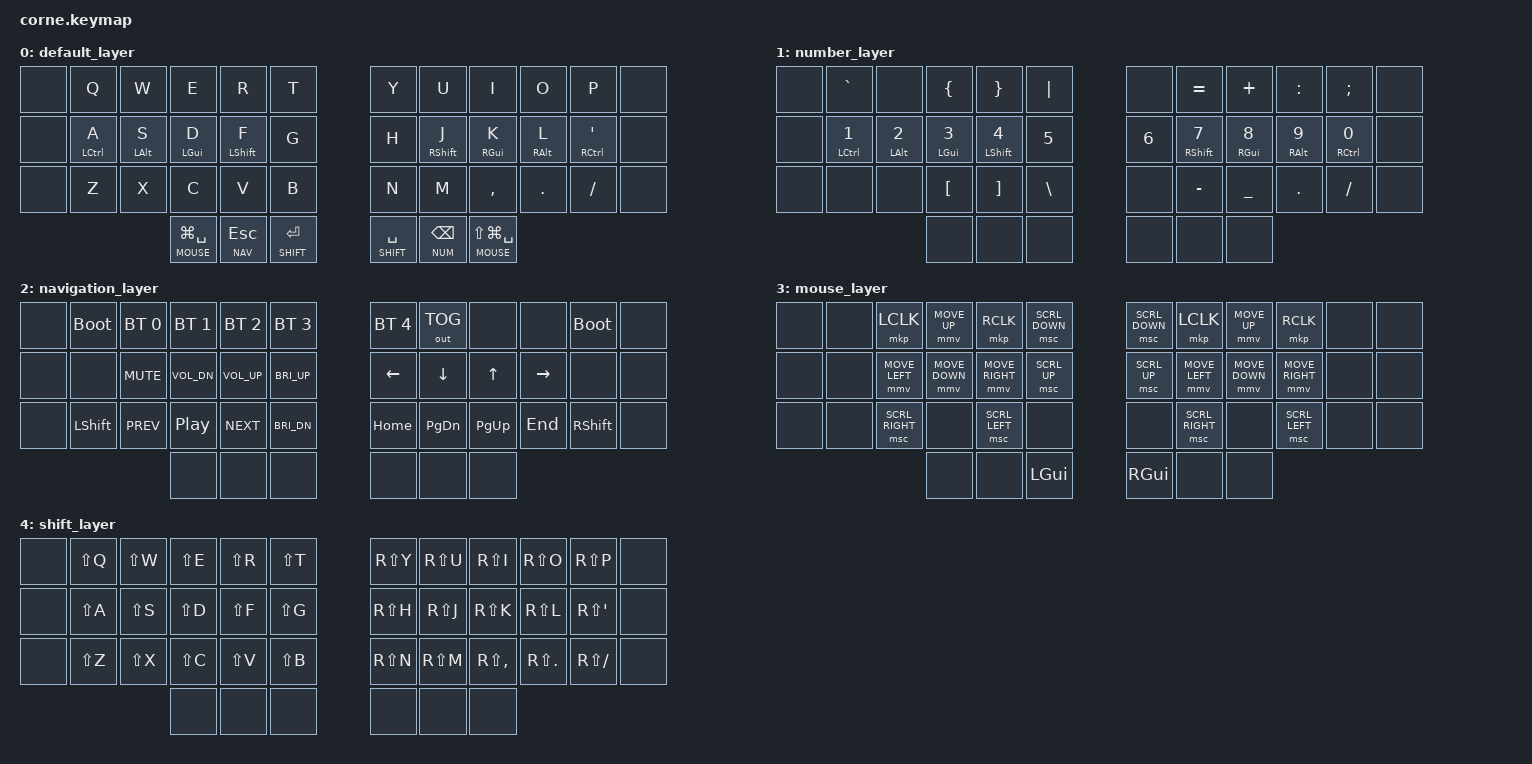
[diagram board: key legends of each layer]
/*
 * Copyright (c) 2020 The ZMK Contributors
 *
 * SPDX-License-Identifier: MIT
 */

#include <behaviors.dtsi>
#include <dt-bindings/zmk/keys.h>
#include <dt-bindings/zmk/bt.h>
#include <dt-bindings/zmk/outputs.h>

/* Mouse move MAX speed (가속 곡선의 끝점). ZMK default 600 → 6배. 곡선은 아래 &mmv. */
#define ZMK_POINTING_DEFAULT_MOVE_VAL 3600
/* Mouse scroll speed. ZMK default 10. &msc 는 기본 acceleration-exponent=0 라
   가속 없이 누르는 동안 '일정 속도' 스크롤. 20 → 16 (0.8배). */
#define ZMK_POINTING_DEFAULT_SCRL_VAL 16
#include <dt-bindings/zmk/pointing.h>

#define BASE  0
#define NUM   1
#define NAV   2
#define MOUSE 3
#define SHIFT 4

/ {
    combos {
        compatible = "zmk,combos";

        /* 둘 다 BASE 전용이다. layers 를 안 걸면 콤보는 모든 레이어에서 살아 있어서,
           예컨대 NAV 의 Y(=BT_SEL 4) 와 H 를 같이 누르면 프로파일 전환 대신 한영전환이
           나간다. 원래 vil 용 콤보라 BASE 밖에서 쓸 일이 없다. */

        // vil: T + G -> Tab
        combo_tab {
            bindings = <&kp TAB>;
            key-positions = <5 17>;
            layers = <BASE>;
            timeout-ms = <50>;
        };

        // vil: Y + H -> Ctrl+Space (한영전환, vil은 우측 Ctrl)
        combo_lang {
            bindings = <&kp RC(SPACE)>;
            key-positions = <6 18>;
            layers = <BASE>;
            timeout-ms = <50>;
        };

        /* 파괴적인 BT 초기화는 NAV 레이어 전용 콤보로만 발동한다.
           예전엔 NAV 윗줄 Y 한 방이 BT_CLR 이었다. OUT_TOG(U) 바로 옆이라 한 칸만
           밀리면 현재 프로파일 bond 가 확인 없이 날아갔고, 실제로 그렇게 페어링이
           깨졌다. 게다가 ble.c 의 auth_pairing_complete() 는 SMP 가 끝나는 순간
           상대 주소를 프로파일에 써버리므로, 한 번 어긋난 슬롯은 호스트 쪽에 아무
           기록이 안 남아도 계속 "taken" 으로 남아 이후 페어링을 전부 거절한다.
           그래서 이제 세 조건이 모두 맞아야 발동한다:
             (1) NAV 레이어일 것  (2) 두 키 동시타  (3) 직전 250ms 간 타이핑 없음
           축은 I(8) 로 공통이되 {8,9} 와 {8,22} 는 서로 부분집합이 아니라서
           combo.c 의 filter_candidates() 판정이 모호해지지 않는다.
           8=I, 9=O, 22=; — 셋 다 NAV 에서는 &none 이라 오발이 나도 무해하다. */

        // NAV + I & O -> 현재 프로파일 bond 만 삭제
        combo_bt_clr {
            bindings = <&bt BT_CLR>;
            key-positions = <8 9>;
            layers = <NAV>;
            timeout-ms = <60>;
            require-prior-idle-ms = <250>;
        };

        // NAV + I & ; -> 5개 프로파일 bond 전부 삭제
        combo_bt_clr_all {
            bindings = <&bt BT_CLR_ALL>;
            key-positions = <8 22>;
            layers = <NAV>;
            timeout-ms = <60>;
            require-prior-idle-ms = <250>;
        };
    };

    behaviors {
        /* Positional home-row mods: mod(hold)는 "반대손/엄지" 키가 뒤따를 때만 발동.
           같은손 연속타(roll)는 강제 tap → 오발 방지. flavor=balanced +
           hold-trigger-on-release 라 Shift+/ 같은 굴림도 hold로 잡혀 ?가 제대로 찍힘.
           (tap-preferred는 200ms 꾹 눌러야만 hold라서 굴리면 tap=ㄹ 으로 떨어졌음)
           positions: 윗줄 좌1-5/우6-10, 홈row 좌13-17/우18-22, 아랫줄 좌25-29/우30-34, 엄지36-41 */
        ml: homerow_mods_left {
            compatible = "zmk,behavior-hold-tap";
            label = "HRM_LEFT";
            #binding-cells = <2>;
            bindings = <&kp>, <&kp>;
            flavor = "balanced";
            tapping-term-ms = <200>;
            quick-tap-ms = <200>;
            require-prior-idle-ms = <150>;
            hold-trigger-on-release;
            // 오른손 글자(6-10,18-22,30-34) + 모든 엄지(36-41)
            hold-trigger-key-positions = <6 7 8 9 10 18 19 20 21 22 30 31 32 33 34 36 37 38 39 40 41>;
        };

        mr: homerow_mods_right {
            compatible = "zmk,behavior-hold-tap";
            label = "HRM_RIGHT";
            #binding-cells = <2>;
            bindings = <&kp>, <&kp>;
            flavor = "balanced";
            tapping-term-ms = <200>;
            quick-tap-ms = <200>;
            require-prior-idle-ms = <150>;
            hold-trigger-on-release;
            // 왼손 글자(1-5,13-17,25-29) + 모든 엄지(36-41)
            hold-trigger-key-positions = <1 2 3 4 5 13 14 15 16 17 25 26 27 28 29 36 37 38 39 40 41>;
        };
    };

    keymap {
        compatible = "zmk,keymap";

        // BASE — QWERTY + CAGS home-row mods (좌 LCTRL/LALT/LGUI/LSHFT, 우 RSHFT/RGUI/RALT/RCTRL)
        default_layer {
            bindings = <
&none  &kp Q        &kp W           &kp E       &kp R        &kp T                  &kp Y           &kp U         &kp I           &kp O        &kp P           &none
&none  &ml LCTRL A  &ml LEFT_ALT S  &ml LGUI D  &ml LSHFT F  &kp G                  &kp H           &mr RSHFT J   &mr RGUI K      &mr RALT L   &mr RCTRL APOS  &none
&none  &kp Z        &kp X           &kp C       &kp V        &kp B                  &kp N           &kp M         &kp COMMA       &kp DOT      &kp SLASH       &none
                                    &lt MOUSE LG(SPACE)  &lt NAV ESC  &lt SHIFT ENTER    &lt SHIFT SPACE  &lt NUM BSPC  &lt MOUSE LS(LG(SPACE))
            >;
        };

        // NUMBER / SYMBOL — 우 Bspc 엄지 hold
        number_layer {
            bindings = <
&none  &kp GRAVE     &none            &kp LBRC    &kp RBRC     &kp PIPE               &none           &kp EQUAL     &kp PLUS        &kp COLON    &kp SEMI        &none
&none  &ml LCTRL N1  &ml LEFT_ALT N2  &ml LGUI N3 &ml LSHFT N4 &kp N5                 &kp N6          &mr RSHFT N7  &mr RGUI N8     &mr RALT N9  &mr RCTRL N0    &none
&none  &none         &none            &kp LBKT    &kp RBKT     &kp BSLH               &none           &kp MINUS     &kp UNDER       &kp DOT      &kp SLASH       &none
                                      &none       &none        &none                  &none           &none         &none
            >;
        };

        // NAVIGATION / MEDIA — 좌 Esc 엄지 hold (볼륨조절 레이어)
        // 윗줄 = 부트로더(양쪽 상단 바깥끝/새끼 자리, NAV+해당 모서리) +
        //        블루투스: W/E/R/T/Y = BT_SEL 0~4 (화면 표시 BT 1~BT 5), 그옆
        //        OUT_TOG(USB↔BLE 토글). BT_CLR/BT_CLR_ALL 은 단타로는 못 누른다 —
        //        위 combos 블록 참고. 프로파일은 5개인데 예전 키맵은 4개만 닿아서
        //        마지막 슬롯의 낡은 bond 를 지울 방법이 아예 없었다.
        navigation_layer {
            bindings = <
&none  &bootloader   &bt BT_SEL 0  &bt BT_SEL 1  &bt BT_SEL 2  &bt BT_SEL 3    &bt BT_SEL 4  &out OUT_TOG  &none  &none  &bootloader  &none
&none  &none         &kp K_MUTE       &kp C_VOL_DN &kp C_VOL_UP &kp C_BRI_UP           &kp LEFT        &kp DOWN      &kp UP          &kp RIGHT    &none           &none
&none  &kp LSHFT     &kp C_PREV       &kp C_PP     &kp C_NEXT   &kp C_BRI_DN           &kp HOME        &kp PG_DN     &kp PG_UP       &kp END      &kp RSHFT       &none
                                      &none       &none        &none                  &none           &none         &none
            >;
        };

        // MOUSE — 양쪽 바깥 엄지 hold
        mouse_layer {
            bindings = <
&none  &none         &mkp LCLK        &mmv MOVE_UP   &mkp RCLK    &msc SCRL_DOWN      &msc SCRL_DOWN  &mkp LCLK      &mmv MOVE_UP   &mkp RCLK     &none          &none
&none  &none         &mmv MOVE_LEFT   &mmv MOVE_DOWN &mmv MOVE_RIGHT &msc SCRL_UP     &msc SCRL_UP    &mmv MOVE_LEFT &mmv MOVE_DOWN &mmv MOVE_RIGHT &none        &none
&none  &none         &msc SCRL_RIGHT  &none          &msc SCRL_LEFT &none             &none           &msc SCRL_RIGHT &none         &msc SCRL_LEFT &none          &none
                                      &none          &none        &kp LGUI            &kp RGUI        &none          &none
            >;
        };

        // SHIFTED LETTERS — Space/Enter 엄지 hold (vil: 왼손 LS, 오른손 RS = same-side shift)
        shift_layer {
            bindings = <
&none  &kp LS(Q)     &kp LS(W)        &kp LS(E)   &kp LS(R)    &kp LS(T)              &kp RS(Y)       &kp RS(U)     &kp RS(I)       &kp RS(O)    &kp RS(P)       &none
&none  &kp LS(A)     &kp LS(S)        &kp LS(D)   &kp LS(F)    &kp LS(G)              &kp RS(H)       &kp RS(J)     &kp RS(K)       &kp RS(L)    &kp RS(APOS)    &none
&none  &kp LS(Z)     &kp LS(X)        &kp LS(C)   &kp LS(V)    &kp LS(B)              &kp RS(N)       &kp RS(M)     &kp RS(COMMA)   &kp RS(DOT)  &kp RS(SLASH)   &none
                                      &none       &none        &none                  &none           &none         &none
            >;
        };
    };
};

/* Enable quick-tap (탭 후 바로 꾹 → 반복) on every layer-tap, matching QMK's
   default quick tap. Lets Backspace / Space / Enter / Esc auto-repeat.
   stock &lt 에는 quick-tap-ms 가 없어 기본 0(비활성)이었다. */
&lt {
    quick-tap-ms = <200>;
};

/* Mouse move: 가속 곡선. 누르면 0에서 출발해 time-to-max-speed-ms(300ms) 동안
   MOVE_VAL(6000)까지 선형(exponent=1) 가속 → 짧게 톡 = 느리고 정밀, 꾹 = 빠름.
   (등속이던 이전 설정을 macOS 포인터 가속이 깎던 문제를 곡선으로 회피.) 값은 취향껏. */
&mmv {
    acceleration-exponent = <1>;
    time-to-max-speed-ms = <300>;
};
